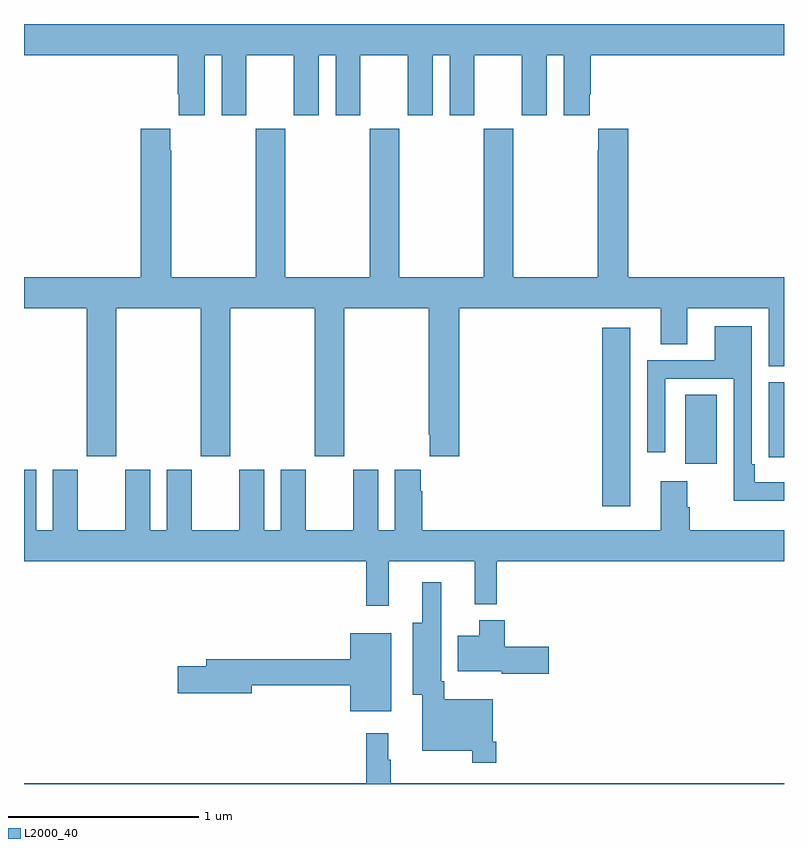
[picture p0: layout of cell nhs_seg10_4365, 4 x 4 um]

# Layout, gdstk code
import gdstk
lib = gdstk.Library(unit=1e-6, precision=1e-09)
def R(c, l, rs):  # rectangles x0, y0, x1, y1
    for r in rs: c.add(gdstk.rectangle(r[:2], r[2:], *l))
def P(c, l, *ps):  # polygons
    for p in ps: c.add(gdstk.Polygon(p, *l))
L2000_40 = (2000, 40)

nhs_seg10_4365 = lib.new_cell('nhs_seg10_4365')
R(nhs_seg10_4365, L2000_40, [(360.044,1277.961,360.19,1278.901), (360.479,1278.186,360.646,1278.548)])
P(nhs_seg10_4365, L2000_40, [(357.952,1280.336),(358.04,1280.336),(358.04,1280.019),(358.171,1280.019),(358.171,1280.336),(358.421,1280.336),(358.421,1280.019),(358.552,1280.019),(358.552,1280.336),(358.64,1280.336),(358.64,1280.019),(358.771,1280.019),(358.771,1280.336),(359.021,1280.336),(359.021,1280.019),(359.152,1280.019),(359.152,1280.336),(359.24,1280.336),(359.24,1280.019),(359.371,1280.019),(359.371,1280.336),(359.621,1280.336),(359.621,1280.019),(359.752,1280.019),(359.752,1280.336),(359.84,1280.336),(359.84,1280.019),(359.977,1280.019),(359.977,1280.131),(359.984,1280.131),(359.984,1280.336),(361,1280.336),(361,1280.5),(357,1280.5),(357,1280.336),(357.809,1280.336),(357.809,1280.131),(357.815,1280.131),(357.815,1280.019),(357.952,1280.019)],
  [(357.486,1279.004),(357.931,1279.004),(357.931,1278.225),(358.086,1278.225),(358.086,1279.004),(358.531,1279.004),(358.531,1278.225),(358.686,1278.225),(358.686,1279.004),(359.131,1279.004),(359.131,1278.337),(359.135,1278.337),(359.135,1278.225),(359.291,1278.225),(359.291,1279.004),(360.35,1279.004),(360.35,1278.814),(360.49,1278.814),(360.49,1279.004),(360.92,1279.004),(360.92,1278.7),(361,1278.7),(361,1279.168),(360.179,1279.168),(360.179,1279.948),(360.023,1279.948),(360.023,1279.835),(360.019,1279.835),(360.019,1279.168),(359.574,1279.168),(359.574,1279.948),(359.419,1279.948),(359.419,1279.168),(358.974,1279.168),(358.974,1279.948),(358.819,1279.948),(358.819,1279.168),(358.374,1279.168),(358.374,1279.948),(358.219,1279.948),(358.219,1279.168),(357.774,1279.168),(357.774,1279.835),(357.769,1279.835),(357.769,1279.948),(357.614,1279.948),(357.614,1279.168),(357,1279.168),(357,1279.004),(357.331,1279.004),(357.331,1278.225),(357.486,1278.225)],
  [(361,1278.088),(360.847,1278.088),(360.847,1278.184),(360.831,1278.184),(360.831,1278.91),(360.635,1278.91),(360.635,1278.729),(360.279,1278.729),(360.279,1278.246),(360.375,1278.246),(360.375,1278.633),(360.735,1278.633),(360.735,1277.99),(361,1277.99)],
  [(361,1278.615),(360.92,1278.615),(360.92,1278.331),(360.921,1278.331),(360.921,1278.219),(361,1278.219)],
  [(358.919,1277.672),(359.372,1277.672),(359.372,1277.447),(359.489,1277.447),(359.489,1277.672),(361,1277.672),(361,1277.836),(360.503,1277.836),(360.503,1277.957),(360.49,1277.957),(360.49,1278.094),(360.35,1278.094),(360.35,1277.836),(359.096,1277.836),(359.096,1278.041),(359.089,1278.041),(359.089,1278.154),(358.952,1278.154),(358.952,1277.836),(358.864,1277.836),(358.864,1278.154),(358.733,1278.154),(358.733,1277.836),(358.483,1277.836),(358.483,1278.154),(358.352,1278.154),(358.352,1277.836),(358.264,1277.836),(358.264,1278.154),(358.133,1278.154),(358.133,1277.836),(357.883,1277.836),(357.883,1278.154),(357.752,1278.154),(357.752,1277.836),(357.664,1277.836),(357.664,1278.154),(357.533,1278.154),(357.533,1277.836),(357.283,1277.836),(357.283,1278.154),(357.152,1278.154),(357.152,1277.836),(357.064,1277.836),(357.064,1278.154),(357,1278.154),(357,1277.672),(358.801,1277.672),(358.801,1277.439),(358.919,1277.439)],
  [(359.486,1276.723),(359.466,1276.723),(359.466,1276.945),(359.213,1276.945),(359.213,1277.041),(359.195,1277.041),(359.195,1277.563),(359.096,1277.563),(359.096,1277.35),(359.045,1277.35),(359.045,1276.97),(359.096,1276.97),(359.096,1276.676),(359.358,1276.676),(359.358,1276.611),(359.486,1276.611)],
  [(359.761,1277.223),(359.531,1277.223),(359.531,1277.362),(359.396,1277.362),(359.396,1277.281),(359.282,1277.281),(359.282,1277.093),(359.514,1277.093),(359.514,1277.081),(359.761,1277.081)],
  [(358.933,1277.293),(358.718,1277.293),(358.718,1277.156),(357.959,1277.156),(357.959,1277.12),(357.81,1277.12),(357.81,1276.978),(358.198,1276.978),(358.198,1277.02),(358.718,1277.02),(358.718,1276.883),(358.933,1276.883)],
  [(361,1276.504),(358.93,1276.504),(358.93,1276.628),(358.918,1276.628),(358.918,1276.768),(358.801,1276.768),(358.801,1276.504),(357,1276.504),(357,1276.5),(361,1276.5)])

lib.write_gds('nhs_seg10_4365.gds')
